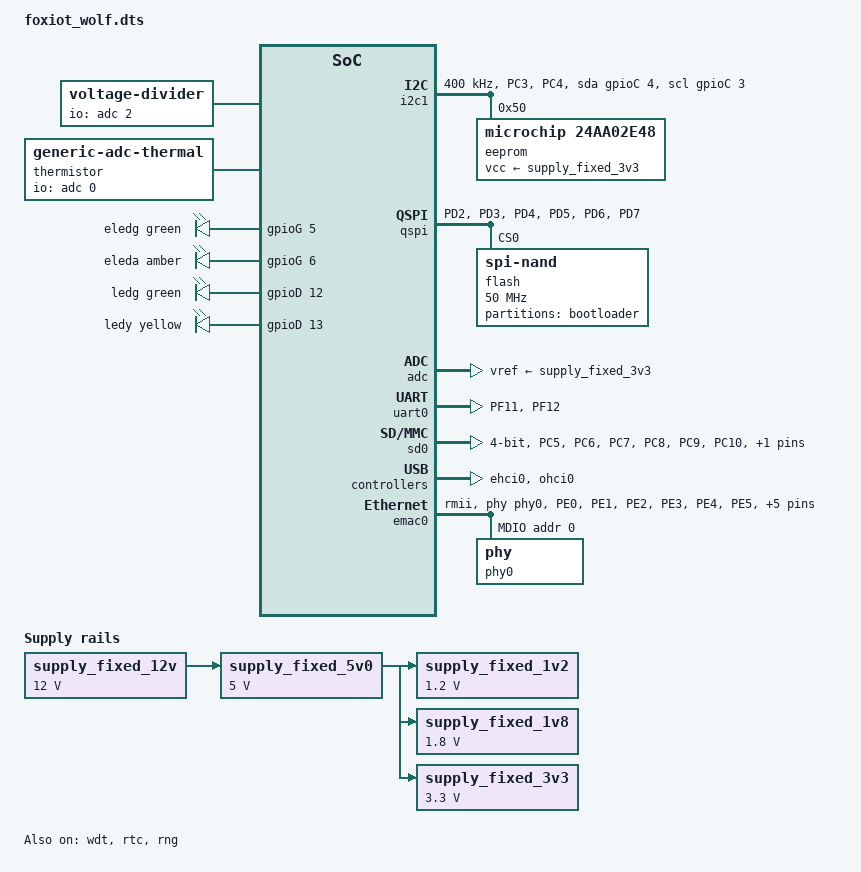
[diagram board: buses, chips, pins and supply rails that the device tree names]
/dts-v1/;

#include "nuc980.dtsi"
#include <dt-bindings/interrupt-controller/irq.h>
#include <dt-bindings/gpio/gpio.h>
#include <dt-bindings/leds/common.h>

/ {
	aliases: aliases {
		serial0 = &uart0;
		serial1 = &uart1;
		serial2 = &uart2;
		serial3 = &uart3;
		serial4 = &uart4;
		serial5 = &uart5;
		serial6 = &uart6;
		serial7 = &uart7;
		serial8 = &uart8;
		serial9 = &uart9;
		i2c1 = &i2c1;
		spi0 = &spi0;
		spi1 = &spi1;
		spi2 = &qspi;
		ethernet0 = &emac0;
		filesystem = &filesystem;
	};

	chosen {
		bootargs = "console=ttyS0,115200n8 earlycon";
		stdout-path = "serial0";
		linux,initrd-start = <0xFFFFFFFF>;         // placeholder, bootloader sets correct values
		linux,initrd-end = <0xFFFFFFFF>;           // placeholder, bootloader sets correct values
		foxiot,pwron = <0>;                        // placeholder, bootloader sets correct values
		foxiot,filesystem-start = <0x00000000>;    // placeholder, bootloader sets correct values
		foxiot,filesystem-end = <0x00000000>;      // placeholder, bootloader sets correct values
	};

	supply_fixed_12v: supply_fixed_12v {
		compatible = "regulator-fixed";
		regulator-name = "supply-fixed-12v";
		regulator-min-microvolt = <12000000>;
		regulator-max-microvolt = <12000000>;
		regulator-always-on;
	};

	supply_fixed_5v0: supply_fixed_5v0 {
		compatible = "regulator-fixed";
		regulator-name = "supply-fixed-5v0";
		regulator-min-microvolt = <5000000>;
		regulator-max-microvolt = <5000000>;
		vin-supply = <&supply_fixed_12v>;
		regulator-always-on;
	};

	supply_fixed_1v2: supply_fixed_1v2 {
		compatible = "regulator-fixed";
		regulator-name = "supply-fixed-1v2";
		regulator-min-microvolt = <1200000>;
		regulator-max-microvolt = <1200000>;
		vin-supply = <&supply_fixed_5v0>;
		regulator-always-on;
	};

	supply_fixed_1v8: supply_fixed_1v8 {
		compatible = "regulator-fixed";
		regulator-name = "supply-fixed-1v8";
		regulator-min-microvolt = <1800000>;
		regulator-max-microvolt = <1800000>;
		vin-supply = <&supply_fixed_5v0>;
		regulator-always-on;
	};

	supply_fixed_3v3: supply_fixed_3v3 {
		compatible = "regulator-fixed";
		regulator-name = "supply-fixed-3v3";
		regulator-min-microvolt = <3300000>;
		regulator-max-microvolt = <3300000>;
		vin-supply = <&supply_fixed_5v0>;
		regulator-always-on;
	};

	voltage {
		compatible = "voltage-divider";
		io-channels = <&adc 2>;
		output-ohms = <10000>;
		full-ohms = <110000>;
	};

	thermistor: thermal-sensor {
		compatible = "generic-adc-thermal";
		io-channels = <&adc 0>;
		io-channel-names = "sensor-channel";
		#thermal-sensor-cells = <0>;
		temperature-lookup-table = <	125000 3004
						95000 2968
						90000 2926
						85000 2879
						80000 2825
						75000 2765
						70000 2696
						65000 2619
						60000 2533
						55000 2436
						50000 2329
						45000 2212
						40000 2085
						35000 1948
						30000 1802
						25000 1650
						20000 1493
						15000 1334
						10000 1177
						5000 1024
						0 879
						(-5000) 744
						(-10000) 620
						(-15000) 510
						(-20000) 414
						(-25000) 331
						(-30000) 261
						(-35000) 203
						(-40000) 156>;
	};

	thermal-zones {
		board {
			polling-delay = <15000>;
			polling-delay-passive = <0>;
			thermal-sensors = <&thermistor>;
			trips {
				dummy {
					temperature = <70000>;
					hysteresis = <2000>;
					type = "passive";
				};
			};
		};
	};

	i2c1: i2c1 {
		compatible = "i2c-gpio";
		scl-gpios = <&gpioC 3 (GPIO_ACTIVE_HIGH|GPIO_OPEN_DRAIN)>;
		sda-gpios = <&gpioC 4 (GPIO_ACTIVE_HIGH|GPIO_OPEN_DRAIN)>;
		clock-frequency = <400000>;
		pinctrl-0 = <&pinctrl_i2c1>;
		pinctrl-names = "default";
		#address-cells = <1>;
		#size-cells = <0>;
		eeprom@50 {
			compatible = "microchip,24aa02e48", "atmel,24c02";
			reg = <0x50>;
			pagesize = <8>;
			vcc-supply = <&supply_fixed_3v3>;
			#address-cells = <1>;
			#size-cells = <1>;
			mac_address0: mac_address@fa {
				reg = <0xfa 0x06>;
			};
		};
	};

	leds0: leds0 {
		compatible = "gpio-leds";
		pinctrl-names = "default";
		pinctrl-0 = <&pinctrl_leds0>;

		eledg {
			gpios = <&gpioG 5 GPIO_ACTIVE_HIGH>;
			color = <LED_COLOR_ID_GREEN>;
			function = LED_FUNCTION_LAN;
		};

		eleda {
			gpios = <&gpioG 6 GPIO_ACTIVE_HIGH>;
			color = <LED_COLOR_ID_AMBER>;
			function = LED_FUNCTION_LAN;
		};

		ledg {
			gpios = <&gpioD 12 GPIO_ACTIVE_HIGH>;
			color = <LED_COLOR_ID_GREEN>;
			function = LED_FUNCTION_DEBUG;
		};

		ledy {
			gpios = <&gpioD 13 GPIO_ACTIVE_HIGH>;
			color = <LED_COLOR_ID_YELLOW>;
			function = LED_FUNCTION_DEBUG;
		};
	};
};

&qspi {
	num-cs = <1>;
	pinctrl-names = "default";
	pinctrl-0 = <&pinctrl_qspi>;
	status = "okay";
	flash: flash@0 {
		compatible = "spi-nand";
		reg = <0>;
		spi-max-frequency = <50000000>;
		spi-rx-bus-width = <4>;
	//	spi-tx-bus-width = <4>;
		#address-cells = <1>;
		#size-cells = <1>;
		bootloader: partition@0 {
			label = "bootloader";
			reg = <0x0 0x40000>;
			read-only;
		};
		firmware: firmware@40000 {
			label = "firmware";
			reg = <0x40000 0x1000000>;
			read-only;
		};
		update: update@1040000 {
			label = "update";
			reg = <0x1040000 0x1000000>;
		};
		filesystem: filesystem {
			label = "filesystem";
			reg = <0x40000 0x100000>; // placeholder, bootloader sets correct values
			read-only;
		};
		ubi: ubi@2040000 {
			label = "ubi";
			reg = <0x2040000 0x5fc0000>;
		};
	};
};

&wdt {
	status = "okay";
};

&rtc {
	status = "okay";
};

&adc {
	avdd-supply = <&supply_fixed_3v3>;
	vref-supply = <&supply_fixed_3v3>;
	status = "okay";
};

&uart0 {
	pinctrl-names = "default";
	pinctrl-0 = <&pinctrl_uart0>;
	status = "okay";
};

&uart2 {
	pinctrl-names = "default";
	pinctrl-0 = <&pinctrl_uart2>;
	dtr-gpios = <&gpioA 11 GPIO_ACTIVE_LOW>;
	rng-gpios = <&gpioA 12 GPIO_ACTIVE_LOW>;
	status = "disabled";
};

&uart8 {
	pinctrl-names = "default";
	pinctrl-0 = <&pinctrl_uart8>;
	// rts-gpios = <&gpioA 10 GPIO_ACTIVE_LOW>;
	// cts-gpios = <&gpioA 9 GPIO_ACTIVE_LOW>;
	status = "disabled";
};

&rng {
	status = "okay";
};

&sd0 {
	pinctrl-names = "default";
	pinctrl-0 = <&pinctrl_sd0>;
	bus-width = <4>;
	disable-wp;
	status = "okay";
};

&pinctrl {
	pinctrl-names = "default";
	pinctrl-0 = <&pinctrl_default>;

	pinctrl_default: pinctrl_default {
		thermistor {
			pins = "PB0";
			function = "mfp8";
			input-disable;
		};
		voltage {
			pins = "PB2";
			function = "mfp8";
			input-disable;
		};
		perst {
			pins = "PG15";
			function = "mfp0";
			drive-open-drain;
			output-high;
		};
		button {
			pins = "PA6";
			function = "mfp0";
			bias-pull-up;
			input-schmitt-enable = <1>;
			input-debounce = <1>;
		};
	};

	pinctrl_leds0: pinctrl_leds0 {
		leds {
			pins = "PG5", "PG6", "PD12", "PD13";
			function = "mfp0";
			drive-push-pull;
		};
	};

	pinctrl_i2c1: pinctrl_i2c1 {
		i2c_gpio {
			pins = "PC3", "PC4";
			function = "mfp0";
			drive-open-drain;
		};
	};

	pinctrl_uart0: pinctrl_uart0 {
		uart {
			pins = "PF11", "PF12";
			function = "mfp1";
		};
	};

	pinctrl_uart2: pinctrl_uart2 {
		uart {
			pins = "PA7", "PA8", "PA9", "PA10";
			function = "mfp2";
		};
		modem {
			pins = "PA11", "PA12";
			functions = "mfp0";
		};
	};

	pinctrl_uart8: pinctrl_uart8 {
		uart {
			pins = "PA11", "PA12";
			function = "mfp2";
		};
		modem {
			pins = "PA9", "PA10";
			functions = "mfp0";
		};
	};

	pinctrl_emac0: pinctrl_emac0 {
		emac {
			pins = "PE0", "PE1", "PE2", "PE3", "PE4", "PE5", "PE6", "PE7", "PE8", "PE9";
			function = "mfp1";
		};
		reset {
			pins = "PG7";
			function = "mfp0";
		};
	};

	pinctrl_qspi: pinctrl_qspi {
		qspi {
			pins = "PD2", "PD3", "PD4", "PD5", "PD6", "PD7";
			function = "mfp1";
			drive-push-pull;
		};
	};

	pinctrl_sd0: pinctrl_sd0 {
		sdio {
			pins = "PC5", "PC6", "PC7", "PC8", "PC9", "PC10";
			function = "mfp6";
		};
		cd {
			pins = "PC12";
			function = "mfp6";
			bias-pull-up;
		};
	};
};

&ehci0 {
	status = "okay";
};

&ohci0 {
	status = "okay";
};

&emac0 {
	phy-handle = <&phy0>;
	phy-connection-type = "rmii";
	nvmem-cells = <&mac_address0>;
	nvmem-cell-names = "mac-address";
	pinctrl-names = "default";
	pinctrl-0 = <&pinctrl_emac0>;
	status = "okay";
	mdio-bus {
		reset-gpios = <&gpioG 7 GPIO_ACTIVE_LOW>;
		reset-delay-us = <500>;
		phy0: phy@0 {
			reg = <0>;
		};
	};
};

